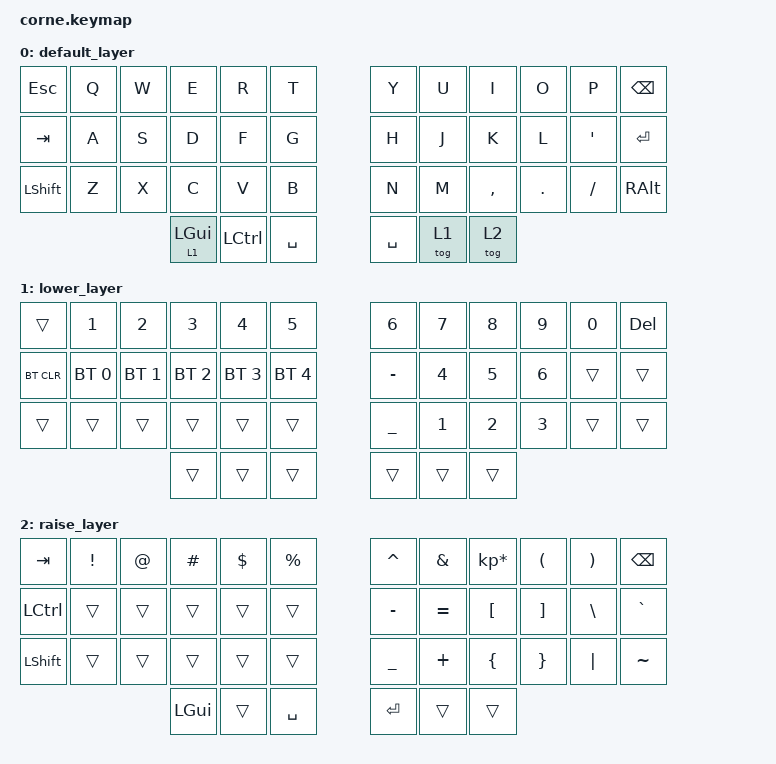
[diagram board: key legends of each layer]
/*
 * Copyright (c) 2020 The ZMK Contributors
 *
 * SPDX-License-Identifier: MIT
 */

#include <behaviors.dtsi>
#include <dt-bindings/zmk/keys.h>
#include <dt-bindings/zmk/bt.h>

/ {
        keymap {
                compatible = "zmk,keymap";
                #define default_layer 0
                #define lower_layer   1
                #define raise_layer   2

               default_layer {
// -----------------------------------------------------------------------------------------
// |  ESC |  Q  |  W  |  E  |  R  |  T  |   |  Y  |  U   |  I  |  O  |  P  | BKSP |
// | TAB  |  A  |  S  |  D  |  F  |  G  |   |  H  |  J   |  K  |  L  |  '   | ENT  |
// | SHFT |  Z  |  X  |  C  |  V  |  B  |   |  N  |  M   |  ,  |  .  |  /  | ALT  |
//                    | ly/w |CTRL | SPC |  | SPC | tog 1|tog 2|
                        bindings = <
   &kp ESC   &kp Q &kp W &kp E &kp R &kp T   &kp Y &kp U  &kp I     &kp O   &kp P    &kp BSPC
   &kp TAB &kp A &kp S &kp D &kp F &kp G   &kp H &kp J  &kp K     &kp L   &kp SQT &kp RET
   &kp LSHFT &kp Z &kp X &kp C &kp V &kp B   &kp N &kp M  &kp COMMA &kp DOT &kp FSLH &kp RALT
                  &lt 1 LGUI &kp LCTRL &kp SPACE    &kp SPACE &tog 1 &tog 2
                        >;
                };
                lower_layer {
// -----------------------------------------------------------------------------------------
// |      |  1  |  2  |  3  |  4  |  5  |   |  6  |  7  |  8  |  9  |  0  | DEL  |
// | BTCLR| BT1 | BT2 | BT3 | BT4 | BT5 |   |  -  |  4  |  5  |  6  |     |      |
// |      |     |     |     |     |     |   |  _  |  1  |  2  |  3  |     |      |
//                    |     |     |     |   |     |     |     |
                        bindings = <
   &trans    &kp N1       &kp N2       &kp N3       &kp N4       &kp N5         &kp N6   &kp N7   &kp N8 &kp N9    &kp N0 &kp DEL
   &bt BT_CLR &bt BT_SEL 0 &bt BT_SEL 1 &bt BT_SEL 2 &bt BT_SEL 3 &bt BT_SEL 4   &kp MINUS &kp N4 &kp N5 &kp N6 &trans &trans
   &trans  &trans       &trans       &trans       &trans       &trans         &kp UNDER   &kp N1   &kp N2 &kp N3    &trans &trans
                          	        &trans     &trans       &trans      &trans  &trans   &trans
                        >;
                };

                raise_layer {
// -----------------------------------------------------------------------------------------
// |  TAB |  !  |  @  |  #  |  $  |  %  |   |  ^  |  &  |  *  |  (  |  )  | BKSP |
// | CTRL |     |     |     |     |     |   |  -  |  =  |  [  |  ]  |  \  |  `   |
// | SHFT |     |     |     |     |     |   |  _  |  +  |  {  |  }  | "|" |  ~   |
//                    | GUI |     | SPC |   | ENT |     |     |
                        bindings = <
   &kp  TAB  &kp EXCL &kp AT &kp HASH &kp DLLR &kp PRCNT   &kp CARET &kp AMPS  &kp KP_MULTIPLY &kp LPAR &kp RPAR &kp BSPC
   &kp LCTRL &trans   &trans &trans   &trans   &trans      &kp MINUS &kp EQUAL &kp LBKT        &kp RBKT &kp BSLH &kp GRAVE
   &kp LSHFT &trans   &trans &trans   &trans   &trans      &kp UNDER &kp PLUS  &kp LBRC        &kp RBRC &kp PIPE &kp TILDE
                    	     &kp LGUI &trans   &kp SPACE   &kp RET   &trans    &trans
                        >;
                };
        };
};
